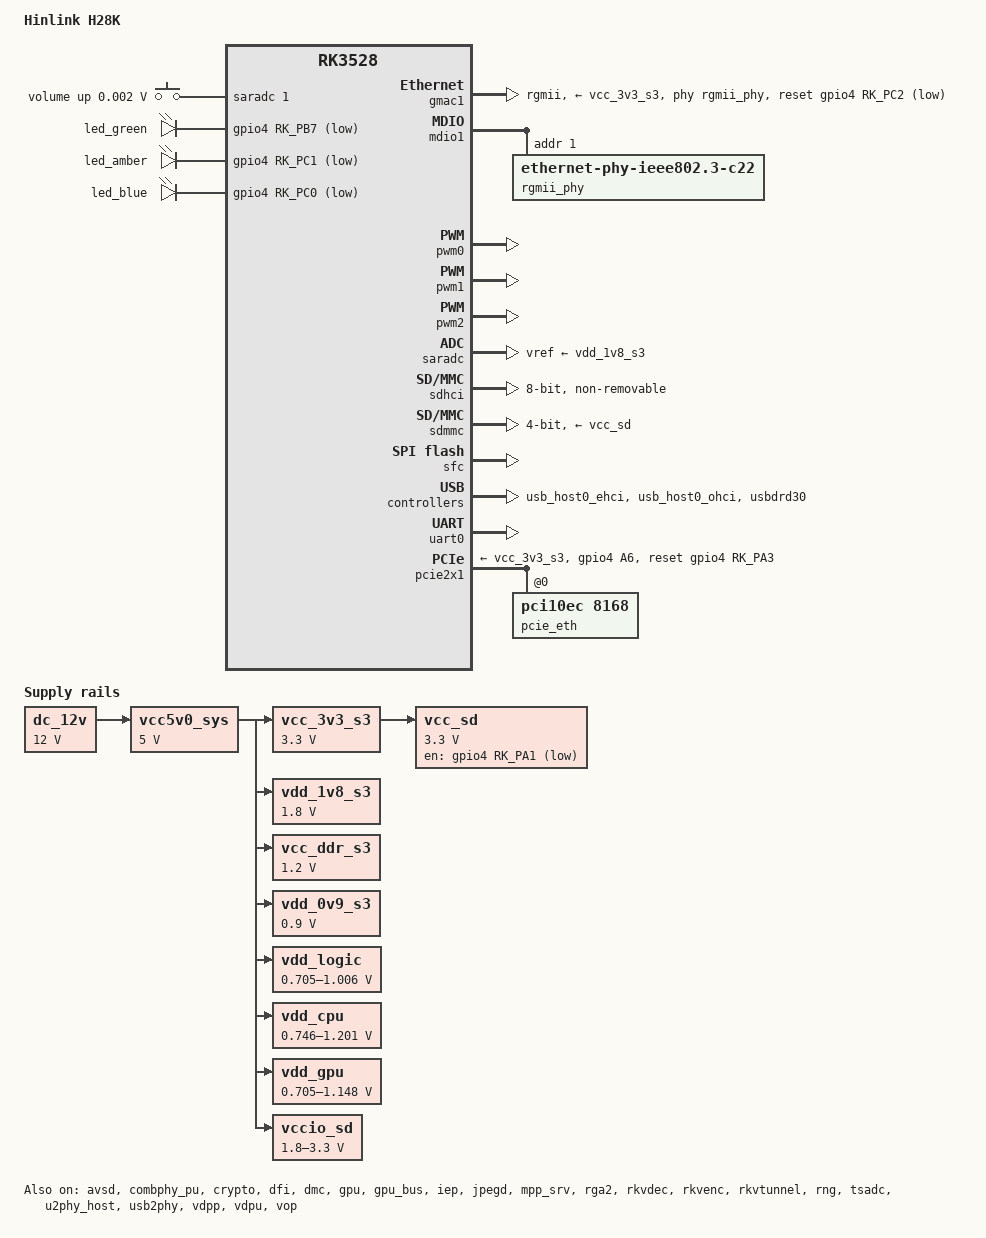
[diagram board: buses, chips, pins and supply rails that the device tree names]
// SPDX-License-Identifier: (GPL-2.0+ OR MIT)
/*
 * Copyright (c) 2022 Rockchip Electronics Co., Ltd.
 * Author: flippy (flippy@sina.com)
 *
 */

/dts-v1/;

#include <dt-bindings/gpio/gpio.h>
#include <dt-bindings/input/rk-input.h>
#include <dt-bindings/pinctrl/rockchip.h>
#include "rk3528.dtsi"

/ {
	model = "Hinlink H28K";
	compatible = "hlink,h28k", "rockchip,rk3528";

	aliases {
		ethernet0 = &gmac1;
		ethernet1 = &pcie_eth;
		mmc0 = &sdmmc;
		mmc1 = &sdhci;
	};

	chosen: chosen{
		bootargs = "earlycon=uart8250,mmio32,0xff9f0000 console=ttyS0,1500000";
	};

	fiq_debugger: fiq-debugger {
		compatible = "rockchip,fiq-debugger";
		rockchip,serial-id = <0>;
		rockchip,wake-irq = <0>;
		/* If enable uart uses irq instead of fiq */
		rockchip,irq-mode-enable = <1>;
		rockchip,baudrate = <1500000>;  /* Only 115200 and 1500000 */
		interrupts = <GIC_SPI 186 IRQ_TYPE_LEVEL_HIGH>;
		pinctrl-names = "default";
		pinctrl-0 = <&uart0m0_xfer>;
		status = "disabled";
	};

	firmware: firmware {
		optee: optee {
			compatible = "linaro,optee-tz";
			method = "smc";
		};
	};

	reserved_memory: reserved-memory {
		#address-cells = <2>;
		#size-cells = <2>;
		ranges;

		cmd: cma {
			compatible = "shared-dma-pool";
			reusable;
			size = <0x00 0x2000000>;
			linux,cma-default;
		};

		drm_logo: drm-logo@00000000 {
			compatible = "rockchip,drm-logo";
			reg = <0x0 0x0 0x0 0x0>;
		};

		drm_cubic_lut: drm-cubic-lut@00000000 {
			compatible = "rockchip,drm-cubic-lut";
			reg = <0x0 0x0 0x0 0x0>;
		};

		ramoops: ramoops@110000 {
			compatible = "ramoops";
			/* 0x110000 to 0x1f0000 is for ramoops */
			reg = <0x0 0x110000 0x0 0xe0000>;
			boot-log-size = <0x8000>;	/* do not change */
			boot-log-count = <0x1>;		/* do not change */
			console-size = <0x80000>;
			pmsg-size = <0x30000>;
			ftrace-size = <0x00000>;
			record-size = <0x14000>;
		};
	};

	adc_keys: adc-keys {
		status = "okay";
		compatible = "adc-keys";
		io-channels = <&saradc 1>;
		io-channel-names = "buttons";
		keyup-threshold-microvolt = <1800000>;
		poll-interval = <100>;

		vol-up-key {
			label = "volume up";
			linux,code = <KEY_VOLUMEUP>;
			press-threshold-microvolt = <1750>;
		};
	};

	dc_12v: dc-12v {
		compatible = "regulator-fixed";
		regulator-name = "dc_12v";
		regulator-always-on;
		regulator-boot-on;
		regulator-min-microvolt = <12000000>;
		regulator-max-microvolt = <12000000>;
	};

	vcc5v0_sys: vcc5v0-sys {
		compatible = "regulator-fixed";
		regulator-name = "vcc5v0_sys";
		regulator-always-on;
		regulator-boot-on;
		regulator-min-microvolt = <5000000>;
		regulator-max-microvolt = <5000000>;
		vin-supply = <&dc_12v>;
	};

	vcc_3v3_s3: vcc-3v3-s3 {
		compatible = "regulator-fixed";
		regulator-name = "vcc_3v3_s3";
		regulator-always-on;
		regulator-boot-on;
		regulator-min-microvolt = <3300000>;
		regulator-max-microvolt = <3300000>;
		vin-supply = <&vcc5v0_sys>;
	};

	vdd_1v8_s3: vdd-1v8-s3 {
		compatible = "regulator-fixed";
		regulator-name = "vdd_1v8_s3";
		regulator-always-on;
		regulator-boot-on;
		regulator-min-microvolt = <1800000>;
		regulator-max-microvolt = <1800000>;
		vin-supply = <&vcc5v0_sys>;
	};

	vcc_ddr_s3: vcc-ddr-s3 {
		compatible = "regulator-fixed";
		regulator-name = "vcc_ddr_s3";
		regulator-always-on;
		regulator-boot-on;
		regulator-min-microvolt = <1200000>;
		regulator-max-microvolt = <1200000>;
		vin-supply = <&vcc5v0_sys>;
	};

	vdd_0v9_s3: vdd-0v9-s3 {
		compatible = "regulator-fixed";
		regulator-name = "vdd_0v9_s3";
		regulator-always-on;
		regulator-boot-on;
		regulator-min-microvolt = <900000>;
		regulator-max-microvolt = <900000>;
		vin-supply = <&vcc5v0_sys>;
	};

	vdd_logic: vdd-logic {
		compatible = "pwm-regulator";
		pwms = <&pwm2 0 5000 1>;
		regulator-name = "vdd_logic";
		regulator-min-microvolt = <705000>;
		regulator-max-microvolt = <1006000>;
		regulator-init-microvolt = <950000>;
		regulator-always-on;
		regulator-boot-on;
		regulator-settling-time-up-us = <250>;
		pwm-supply = <&vcc5v0_sys>;
		status = "okay";
	};

	vdd_cpu: vdd-cpu {
		compatible = "pwm-regulator";
		pwms = <&pwm1 0 5000 1>;
		regulator-name = "vdd_cpu";
		regulator-min-microvolt = <746000>;
		regulator-max-microvolt = <1201000>;
		regulator-init-microvolt = <953000>;
		regulator-always-on;
		regulator-boot-on;
		regulator-settling-time-up-us = <250>;
		pwm-supply = <&vcc5v0_sys>;
		status = "okay";
	};

	vdd_gpu: vdd-gpu {
		compatible = "pwm-regulator";
		pwms = <&pwm0 0 5000 1>;
		regulator-name = "vdd_gpu";
		regulator-min-microvolt = <705000>;
		regulator-max-microvolt = <1148000>;
		regulator-init-microvolt = <900000>;
		regulator-always-on;
		regulator-boot-on;
		regulator-settling-time-up-us = <250>;
		pwm-supply = <&vcc5v0_sys>;
		status = "okay";
	};

	vcc_sd: vcc-sd {
		compatible = "regulator-fixed";
		gpio = <&gpio4 RK_PA1 GPIO_ACTIVE_LOW>;
		regulator-name = "vcc_sd";
		regulator-min-microvolt = <3300000>;
		regulator-max-microvolt = <3300000>;
		vin-supply = <&vcc_3v3_s3>;
	};

	vccio_sd: vccio-sd {
		compatible = "regulator-gpio";
		regulator-name = "vccio_sd";
		regulator-min-microvolt = <1800000>;
		regulator-max-microvolt = <3300000>;
		gpios = <&gpio4 RK_PB6 GPIO_ACTIVE_HIGH>;
		vin-supply = <&vcc5v0_sys>;
		states = <1800000 0x0
			  3300000 0x1>;
	};

	gpio_leds: gpio-leds {
		compatible = "gpio-leds";
		pinctrl-names = "led-green", "led-amber", "led-blue";
		pinctrl-0 = <&led_green_en>, <&led_amber_en>, <&led_blue_en>;

		led_green: led-green {
			label = "led_green";
			gpios = <&gpio4 RK_PB7 GPIO_ACTIVE_LOW>;
			linux,default-trigger = "heartbeat";
		};

		led_amber: led-amber {
			label = "led_amber";
			gpios = <&gpio4 RK_PC1 GPIO_ACTIVE_LOW>;
		};

		led_blue: led-blue {
			label = "led_blue";
			gpios = <&gpio4 RK_PC0 GPIO_ACTIVE_LOW>;
		};
	};
};

&reserved_memory {
};

&avsd {
	status = "okay";
};

&combphy_pu {
	status = "okay";
};

&cpu0 {
	cpu-supply = <&vdd_cpu>;
};

&crypto {
	status = "okay";
};

&dfi {
	status = "okay";
};

&dmc {
	center-supply = <&vdd_logic>;
	status = "okay";
};

&gmac0 {
	status = "disabled";
};

&gmac1 {
	status = "okay";
	pinctrl-names = "default";
	pinctrl-0 = <&rgmii_miim
		     &rgmii_tx_bus2
		     &rgmii_rx_bus2
		     &rgmii_rgmii_clk
		     &rgmii_rgmii_bus>;

	phy-supply = <&vcc_3v3_s3>;
	phy-handle = <&rgmii_phy>;

	phy-mode = "rgmii";
	clock_in_out = "output";
	tx_delay = <0x36>;
	rx_delay = <0x2b>;

	snps,reset-gpio = <&gpio4 RK_PC2 GPIO_ACTIVE_LOW>;
	snps,reset-active-low;
	/* Reset time is 20ms, 100ms for rtl8211f */
	snps,reset-delays-us = <0 20000 100000>;
};

&mdio1 {
	rgmii_phy: phy@1 {
		compatible = "ethernet-phy-ieee802.3-c22";
		reg = <0x1>;
	};
};

&gpu {
	mali-supply = <&vdd_gpu>;
	status = "okay";
};

&gpu_bus {
	bus-supply = <&vdd_logic>;
	status = "okay";
};

&display_subsystem {
	status = "disabled";
	memory-region = <&drm_logo>, <&drm_cubic_lut>;
	memory-region-names = "drm-logo", "drm-cubic-lut";
	/* devfreq = <&dmc>; */

	route {
		route_hdmi: route-hdmi {
			status = "okay";
			logo,uboot = "logo.bmp";
			logo,kernel = "logo_kernel.bmp";
			logo,mode = "center";
			charge_logo,mode = "center";
			connect = <&vp0_out_hdmi>;
		};

		route_tve: route-tve {
			status = "okay";
			logo,uboot = "logo.bmp";
			logo,kernel = "logo_kernel.bmp";
			logo,mode = "center";
			charge_logo,mode = "center";
			connect = <&vp1_out_tve>;
		};
	};
};

&hdmi {
	status = "disabled";
};

&hdmi_in_vp0 {
	status = "disabled";
};

&hdmiphy {
	status = "disabled";
};

&iep {
	status = "okay";
};

&iep_mmu {
	status = "okay";
};

&jpegd {
	status = "okay";
};

&jpegd_mmu {
	status = "okay";
};

&mpp_srv {
	status = "okay";
};

&pwm0 {
	status = "okay";
};

&pwm1 {
	status = "okay";
};

&pwm2 {
	status = "okay";
};

&rga2 {
	status = "okay";
};

&rga2_mmu {
	status = "okay";
};

&rkvdec {
	status = "okay";
};

&rkvdec_mmu {
	status = "okay";
};

&rkvenc {
	status = "okay";
};

&rkvenc_mmu {
	status = "okay";
};

&rkvtunnel {
	status = "okay";
};

&rng {
	status = "okay";
};

&rockchip_suspend {
	status = "okay";
	rockchip,sleep-debug-en = <1>;
	rockchip,virtual-poweroff = <1>;
	rockchip,sleep-mode-config = <
		(0
		| RKPM_SLP_ARMPD
		)
	>;
	rockchip,wakeup-config = <
		(0
		| RKPM_CPU0_WKUP_EN
		| RKPM_GPIO_WKUP_EN
		)
	>;
	rockchip,pwm-regulator-config = <
		(0
		| RKPM_PWM0_M0_REGULATOR_EN
		| RKPM_PWM1_M0_REGULATOR_EN
		)
	>;
};

&saradc {
	status = "okay";
	vref-supply = <&vdd_1v8_s3>;
};

&sdhci {
	bus-width = <8>;
	no-sd;
	no-sdio;
	non-removable;
	mmc-hs200-1_8v;
	max-frequency = <200000000>;
	status = "okay";
};

&sdmmc {
	bus-width = <4>;
	cap-mmc-highspeed;
	cap-sd-highspeed;
	disable-wp;
	max-frequency = <100000000>;
	pinctrl-names = "default";
	pinctrl-0 = <&sdmmc_clk &sdmmc_cmd &sdmmc_det &sdmmc_bus4>;
	rockchip,default-sample-phase = <90>;
	supports-sd;
	sd-uhs-sdr12;
	sd-uhs-sdr25;
	sd-uhs-sdr50;
	vqmmc-supply = <&vccio_sd>;
	vmmc-supply = <&vcc_sd>;
	status = "okay";
};

&sfc {
	status = "okay";
};

&tsadc {
	status = "okay";
};

&u2phy_host {
	phy-supply = <&vcc5v0_sys>;
	status = "okay";
};

&u2phy_otg {
	phy-supply = <&vcc5v0_sys>;
	vbus-supply = <&vcc_3v3_s3>;
	status = "disabled";
};

&usb2phy {
	status = "okay";
};

&usb_host0_ehci {
	status = "okay";
};

&usb_host0_ohci {
	status = "okay";
};

&usbdrd30 {
	status = "okay";
};

&usbdrd_dwc3 {
	status = "disabled";
	dr_mode = "otg";
        phys = <&u2phy_otg>;
        phy-names = "usb2-phy";
        maximum-speed = "high-speed";
        snps,dis_u2_susphy_quirk;
        snps,usb2-lpm-disable;
};

&vdpp {
	status = "okay";
};

&vdpu {
	status = "okay";
};

&vdpu_mmu {
	status = "okay";
};

&vop {
	status = "okay";
};

&vop_mmu {
	status = "okay";
};

&uart0 {
	status = "okay";
	pinctrl-names = "default";
	pinctrl-0 = <&uart0m0_xfer>;
};

&pcie2x1 {
	status = "okay";
	reset-gpios = <&gpio4 RK_PA3 GPIO_ACTIVE_HIGH>;
	vpcie3v3-supply = <&vcc_3v3_s3>;

	pinctrl-names = "default";
	pinctrl-0 = <&pcie_rtl8111_isolate>;

	pcie@0,0 {
		reg = <0x000000 0 0 0 0>;
		#address-cells = <3>;
		#size-cells = <2>;

		pcie_eth: pcie-eth@10,0 {
			compatible = "pci10ec,8168";
			reg = <0x000000 0 0 0 0>;
			realtek,led-data = <0x0870>;
		};
	};
};

&pinctrl {
	leds {
		led_green_en: led-green-en {
			rockchip,pins = <4 RK_PB7 RK_FUNC_GPIO &pcfg_pull_up>;
		};

		led_amber_en: led-amber-en {
			rockchip,pins = <4 RK_PC1 RK_FUNC_GPIO &pcfg_pull_up>;
		};

		led_blue_en: led-blue-en {
			rockchip,pins = <4 RK_PC0 RK_FUNC_GPIO &pcfg_pull_up>;
		};
	};

	pcie {
		pcie_rtl8111_isolate: pcie-rtl8111-isolate {
			rockchip,pins = <4 RK_PA6 RK_FUNC_GPIO &pcfg_pull_up>;
		};
	};
};
